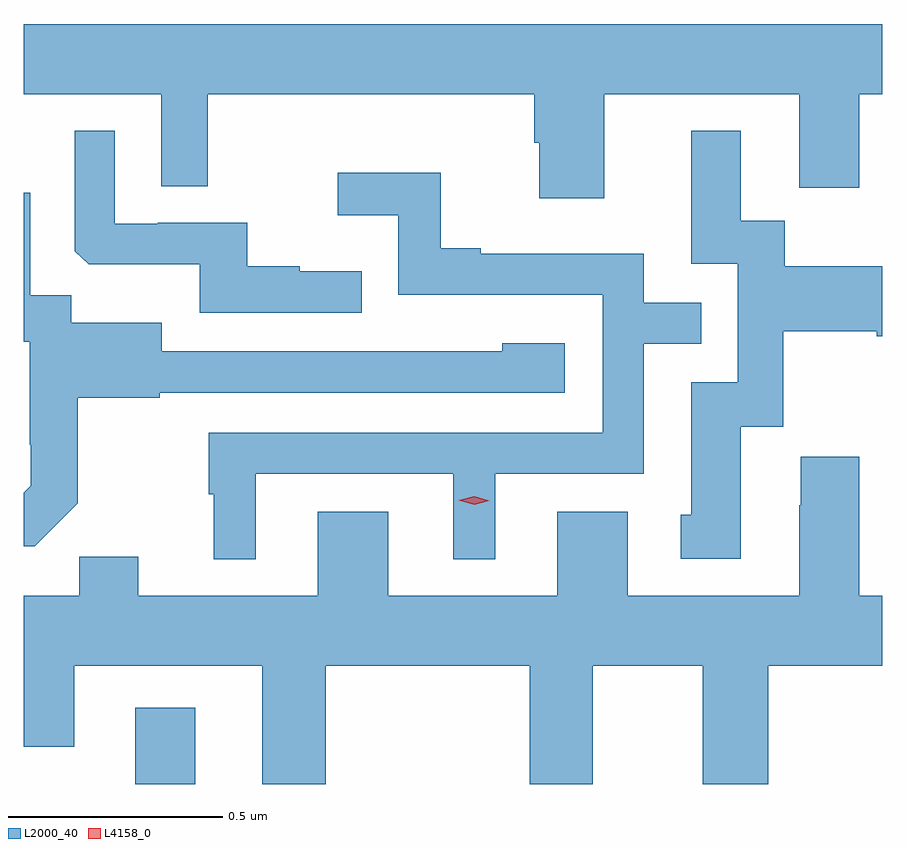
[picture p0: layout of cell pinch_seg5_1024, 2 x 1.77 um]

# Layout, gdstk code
import gdstk
lib = gdstk.Library(unit=1e-6, precision=1e-09)
def R(c, l, rs):  # rectangles x0, y0, x1, y1
    for r in rs: c.add(gdstk.rectangle(r[:2], r[2:], *l))
def P(c, l, *ps):  # polygons
    for p in ps: c.add(gdstk.Polygon(p, *l))
L2000_40 = (2000, 40)
L4158_0 = (4158, 0)

pinch_seg5_1024 = lib.new_cell('pinch_seg5_1024')
R(pinch_seg5_1024, L2000_40, [(678.269,871.137,678.409,871.315)])
P(pinch_seg5_1024, L2000_40, [(679.363,872.744),(679.817,872.744),(679.817,872.526),(679.957,872.526),(679.957,872.744),(680.01,872.744),(680.01,872.908),(678.01,872.908),(678.01,872.744),(678.33,872.744),(678.33,872.53),(678.439,872.53),(678.439,872.744),(679.199,872.744),(679.199,872.631),(679.211,872.631),(679.211,872.502),(679.363,872.502)],
  [(679.681,871.97),(679.779,871.97),(679.779,872.192),(679.997,872.192),(679.997,872.18),(680.01,872.18),(680.01,872.344),(679.783,872.344),(679.783,872.45),(679.681,872.45),(679.681,872.659),(679.565,872.659),(679.565,872.349),(679.674,872.349),(679.674,872.073),(679.565,872.073),(679.565,871.764),(679.541,871.764),(679.541,871.662),(679.681,871.662)],
  [(678.797,872.332),(678.653,872.332),(678.653,872.344),(678.53,872.344),(678.53,872.445),(678.322,872.445),(678.322,872.442),(678.222,872.442),(678.222,872.659),(678.129,872.659),(678.129,872.379),(678.161,872.348),(678.42,872.348),(678.42,872.235),(678.797,872.235)],
  [(678.55,871.86),(679.01,871.86),(679.01,871.661),(679.108,871.661),(679.108,871.86),(679.455,871.86),(679.455,872.163),(679.589,872.163),(679.589,872.259),(679.455,872.259),(679.455,872.373),(679.075,872.373),(679.075,872.386),(678.981,872.386),(678.981,872.561),(678.741,872.561),(678.741,872.462),(678.882,872.462),(678.882,872.277),(679.359,872.277),(679.359,871.956),(678.441,871.956),(678.441,871.812),(678.452,871.812),(678.452,871.661),(678.55,871.661)],
  [(678.135,871.791),(678.135,872.037),(678.327,872.037),(678.327,872.049),(679.27,872.049),(679.27,872.164),(679.125,872.164),(679.125,872.146),(678.889,872.146),(678.889,872.145),(678.331,872.145),(678.331,872.212),(678.12,872.212),(678.12,872.276),(678.025,872.276),(678.025,872.515),(678.01,872.515),(678.01,872.168),(678.024,872.168),(678.024,871.927),(678.026,871.927),(678.026,871.832),(678.01,871.816),(678.01,871.691),(678.035,871.691)],
  [(679.189,871.137),(679.336,871.137),(679.336,871.412),(679.592,871.412),(679.592,871.137),(679.745,871.137),(679.745,871.412),(680.01,871.412),(680.01,871.576),(679.957,871.576),(679.957,871.9),(679.82,871.9),(679.82,871.787),(679.817,871.787),(679.817,871.576),(679.417,871.576),(679.417,871.771),(679.253,871.771),(679.253,871.576),(678.859,871.576),(678.859,871.771),(678.695,871.771),(678.695,871.576),(678.277,871.576),(678.277,871.667),(678.139,871.667),(678.139,871.576),(678.01,871.576),(678.01,871.224),(678.127,871.224),(678.127,871.412),(678.566,871.412),(678.566,871.137),(678.714,871.137),(678.714,871.412),(679.189,871.412)])
P(pinch_seg5_1024, L4158_0, [(679.059,871.788),(679.023,871.798),(679.023,871.798),(679.023,871.798),(679.059,871.808),(679.095,871.797),(679.095,871.797),(679.095,871.797)])

lib.write_gds('pinch_seg5_1024.gds')
